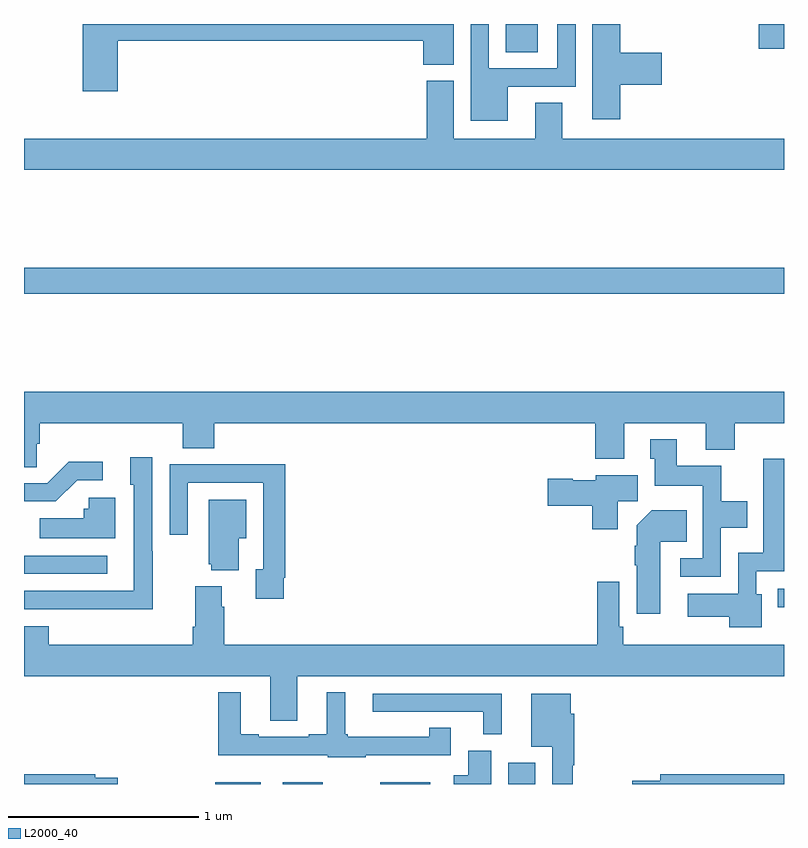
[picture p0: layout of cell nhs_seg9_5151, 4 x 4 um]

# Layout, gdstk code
import gdstk
lib = gdstk.Library(unit=1e-6, precision=1e-09)
def R(c, l, rs):  # rectangles x0, y0, x1, y1
    for r in rs: c.add(gdstk.rectangle(r[:2], r[2:], *l))
def P(c, l, *ps):  # polygons
    for p in ps: c.add(gdstk.Polygon(p, *l))
L2000_40 = (2000, 40)

nhs_seg9_5151 = lib.new_cell('nhs_seg9_5151')
R(nhs_seg9_5151, L2000_40, [(410.006,1214.5,410.245,1214.509), (410.363,1214.5,410.572,1214.509), (410.876,1214.5,411.139,1214.509), (411.548,1214.5,411.691,1214.611), (412.967,1215.431,413,1215.528), (409,1215.606,409.438,1215.702), (409,1217.08,413,1217.216), (411.536,1218.352,411.703,1218.5), (412.866,1218.37,413,1218.5)])
P(nhs_seg9_5151, L2000_40, [(412.139,1218.179),(412.357,1218.179),(412.357,1218.35),(412.139,1218.35),(412.139,1218.5),(411.992,1218.5),(411.992,1218),(412.139,1218)],
  [(409.493,1218.412),(411.101,1218.412),(411.101,1218.286),(411.262,1218.286),(411.262,1218.5),(409.352,1218.5),(409.352,1218.499),(409.31,1218.499),(409.31,1218.147),(409.493,1218.147)],
  [(411.547,1218.171),(411.903,1218.171),(411.903,1218.5),(411.807,1218.5),(411.807,1218.267),(411.447,1218.267),(411.447,1218.5),(411.351,1218.5),(411.351,1217.99),(411.547,1217.99)],
  [(413,1217.896),(411.832,1217.896),(411.832,1218.086),(411.692,1218.086),(411.692,1217.896),(411.262,1217.896),(411.262,1218.201),(411.119,1218.201),(411.119,1217.896),(409,1217.896),(409,1217.732),(413,1217.732)],
  [(409.068,1216.291),(409.082,1216.291),(409.082,1216.4),(409.835,1216.4),(409.835,1216.267),(410,1216.267),(410,1216.4),(412.007,1216.4),(412.007,1216.211),(412.159,1216.211),(412.159,1216.4),(412.589,1216.4),(412.589,1216.259),(412.742,1216.259),(412.742,1216.4),(413,1216.4),(413,1216.564),(409,1216.564),(409,1216.168),(409.068,1216.168)],
  [(412.668,1215.848),(412.807,1215.848),(412.807,1215.988),(412.671,1215.988),(412.671,1216.174),(412.435,1216.174),(412.435,1216.315),(412.295,1216.315),(412.295,1216.212),(412.319,1216.212),(412.319,1216.07),(412.572,1216.07),(412.572,1215.687),(412.455,1215.687),(412.455,1215.591),(412.668,1215.591)],
  [(409.677,1215.725),(409.674,1215.725),(409.674,1216.219),(409.559,1216.219),(409.559,1216.074),(409.578,1216.074),(409.578,1215.734),(409.577,1215.734),(409.577,1215.516),(409,1215.516),(409,1215.42),(409.213,1215.42),(409.213,1215.419),(409.677,1215.419)],
  [(412.882,1215.498),(412.854,1215.498),(412.854,1215.621),(413,1215.621),(413,1216.213),(412.892,1216.213),(412.892,1215.718),(412.758,1215.718),(412.758,1215.502),(412.494,1215.502),(412.494,1215.38),(412.711,1215.38),(412.711,1215.326),(412.882,1215.326)],
  [(409.279,1216.098),(409.414,1216.098),(409.414,1216.196),(409.235,1216.196),(409.122,1216.083),(409,1216.083),(409,1215.987),(409.168,1215.987)],
  [(410.368,1215.586),(410.375,1215.586),(410.375,1216.184),(410.083,1216.184),(410.083,1216.182),(409.767,1216.182),(409.767,1215.813),(409.863,1215.813),(409.863,1216.086),(410.259,1216.086),(410.259,1215.63),(410.219,1215.63),(410.219,1215.474),(410.368,1215.474)],
  [(412.126,1215.988),(412.231,1215.988),(412.231,1216.126),(412.008,1216.126),(412.008,1216.099),(411.888,1216.099),(411.888,1216.107),(411.756,1216.107),(411.756,1215.965),(411.992,1215.965),(411.992,1215.84),(412.126,1215.84)],
  [(409.48,1216.006),(409.341,1216.006),(409.341,1215.948),(409.315,1215.948),(409.315,1215.898),(409.084,1215.898),(409.084,1215.794),(409.48,1215.794)],
  [(410.131,1215.794),(410.17,1215.794),(410.17,1215.997),(409.973,1215.997),(409.973,1215.657),(409.985,1215.657),(409.985,1215.626),(410.131,1215.626)],
  [(412.348,1215.776),(412.487,1215.776),(412.487,1215.94),(412.304,1215.94),(412.226,1215.862),(412.226,1215.755),(412.214,1215.755),(412.214,1215.652),(412.226,1215.652),(412.226,1215.396),(412.348,1215.396)],
  [(410.437,1215.068),(413,1215.068),(413,1215.232),(412.154,1215.232),(412.154,1215.328),(412.134,1215.328),(412.134,1215.565),(412.018,1215.565),(412.018,1215.232),(410.054,1215.232),(410.054,1215.434),(410.041,1215.434),(410.041,1215.541),(409.901,1215.541),(409.901,1215.328),(409.889,1215.328),(409.889,1215.232),(409.13,1215.232),(409.13,1215.331),(409,1215.331),(409,1215.068),(410.297,1215.068),(410.297,1214.833),(410.437,1214.833)],
  [(410.798,1214.651),(411.247,1214.651),(411.247,1214.795),(411.134,1214.795),(411.134,1214.749),(410.704,1214.749),(410.704,1214.761),(410.692,1214.761),(410.692,1214.983),(410.594,1214.983),(410.594,1214.761),(410.498,1214.761),(410.498,1214.748),(410.236,1214.748),(410.236,1214.761),(410.14,1214.761),(410.14,1214.983),(410.023,1214.983),(410.023,1214.651),(410.598,1214.651),(410.598,1214.64),(410.798,1214.64)],
  [(411.514,1214.976),(410.835,1214.976),(410.835,1214.88),(411.416,1214.88),(411.416,1214.761),(411.514,1214.761)],
  [(411.889,1214.6),(411.896,1214.6),(411.896,1214.87),(411.877,1214.87),(411.877,1214.974),(411.671,1214.974),(411.671,1214.696),(411.78,1214.696),(411.78,1214.5),(411.889,1214.5)],
  [(411.46,1214.676),(411.338,1214.676),(411.338,1214.545),(411.263,1214.545),(411.263,1214.5),(411.46,1214.5)],
  [(413,1214.552),(412.349,1214.552),(412.349,1214.516),(412.2,1214.516),(412.2,1214.5),(413,1214.5)],
  [(409.493,1214.532),(409.376,1214.532),(409.376,1214.552),(409,1214.552),(409,1214.5),(409.493,1214.5)])

lib.write_gds('nhs_seg9_5151.gds')
